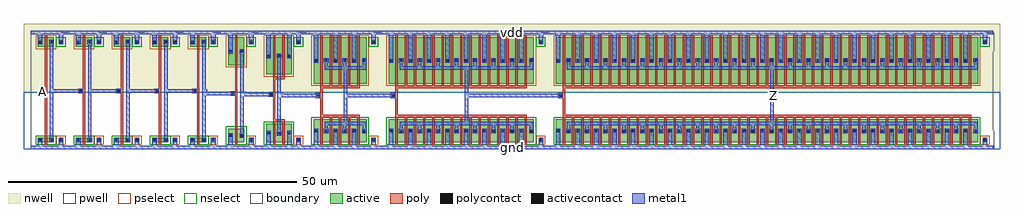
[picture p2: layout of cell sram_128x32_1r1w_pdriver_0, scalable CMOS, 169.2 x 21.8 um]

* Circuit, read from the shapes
.subckt sram_128x32_1r1w_pdriver_0 A Z gnd vdd
M1 sram_128x32_1r1w_pinv_6_1/A A gnd gnd nfet w=0.8u l=0.4u
M2 sram_128x32_1r1w_pinv_6_2/A sram_128x32_1r1w_pinv_6_1/A gnd gnd nfet w=0.8u l=0.4u
M3 sram_128x32_1r1w_pinv_6_3/A sram_128x32_1r1w_pinv_6_2/A gnd gnd nfet w=0.8u l=0.4u
M4 sram_128x32_1r1w_pinv_6_4/A sram_128x32_1r1w_pinv_6_3/A gnd gnd nfet w=0.8u l=0.4u
M5 sram_128x32_1r1w_pinv_7_5/A sram_128x32_1r1w_pinv_6_4/A gnd gnd nfet w=0.8u l=0.4u
M6 sram_128x32_1r1w_pinv_8_6/A sram_128x32_1r1w_pinv_7_5/A gnd gnd nfet w=2.4u l=0.4u
M7 sram_128x32_1r1w_pinv_9_7/A sram_128x32_1r1w_pinv_8_6/A gnd gnd nfet w=3.2u l=0.4u m=2
M8 sram_128x32_1r1w_pinv_10_8/A sram_128x32_1r1w_pinv_9_7/A gnd gnd nfet w=4u l=0.4u m=5
M9 sram_128x32_1r1w_pinv_11_9/A sram_128x32_1r1w_pinv_10_8/A gnd gnd nfet w=4u l=0.4u m=15
M10 Z sram_128x32_1r1w_pinv_11_9/A gnd gnd nfet w=4u l=0.4u m=45
M11 sram_128x32_1r1w_pinv_6_1/A A vdd vdd pfet w=1.6u l=0.4u
M12 sram_128x32_1r1w_pinv_6_2/A sram_128x32_1r1w_pinv_6_1/A vdd vdd pfet w=1.6u l=0.4u
M13 sram_128x32_1r1w_pinv_6_3/A sram_128x32_1r1w_pinv_6_2/A vdd vdd pfet w=1.6u l=0.4u
M14 sram_128x32_1r1w_pinv_6_4/A sram_128x32_1r1w_pinv_6_3/A vdd vdd pfet w=1.6u l=0.4u
M15 sram_128x32_1r1w_pinv_7_5/A sram_128x32_1r1w_pinv_6_4/A vdd vdd pfet w=1.6u l=0.4u
M16 sram_128x32_1r1w_pinv_8_6/A sram_128x32_1r1w_pinv_7_5/A vdd vdd pfet w=4.8u l=0.4u
M17 sram_128x32_1r1w_pinv_9_7/A sram_128x32_1r1w_pinv_8_6/A vdd vdd pfet w=6.4u l=0.4u m=2
M18 sram_128x32_1r1w_pinv_10_8/A sram_128x32_1r1w_pinv_9_7/A vdd vdd pfet w=8u l=0.4u m=5
M19 sram_128x32_1r1w_pinv_11_9/A sram_128x32_1r1w_pinv_10_8/A vdd vdd pfet w=8u l=0.4u m=15
M20 Z sram_128x32_1r1w_pinv_11_9/A vdd vdd pfet w=8u l=0.4u m=45
.ends

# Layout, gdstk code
import gdstk
lib = gdstk.Library(unit=1e-6, precision=1e-09)
def R(c, l, rs):  # rectangles x0, y0, x1, y1
    for r in rs: c.add(gdstk.rectangle(r[:2], r[2:], *l))
def A(c, l, x, y, w, h, nx, ny, dx, dy):  # array of equal rectangles
    R(c, l, [(x+i*dx, y+j*dy, x+i*dx+w, y+j*dy+h) for i in range(nx) for j in range(ny)])
pwell = (41, 0)
nwell = (42, 0)
active = (43, 0)
pselect = (44, 0)
nselect = (45, 0)
poly = (46, 0)
polycontact = (47, 0)
activecontact = (48, 0)
metal1 = (49, 0)
boundary = (63, 0)

sram_128x32_1r1w_contact = lib.new_cell('sram_128x32_1r1w_contact_11')
R(sram_128x32_1r1w_contact, nwell, [(-1.2,-1.2,2,2)])
R(sram_128x32_1r1w_contact, active, [(0,0,0.8,0.8)])
R(sram_128x32_1r1w_contact, pselect, [(-0.4,-0.4,1.2,1.2)])
R(sram_128x32_1r1w_contact, activecontact, [(0.2,0.2,0.6,0.6)])
R(sram_128x32_1r1w_contact, metal1, [(0,0,0.8,0.8)])
R(sram_128x32_1r1w_contact, boundary, [(-1.2,-1.2,2,2)])

sram_128x32_1r1w_pmos_m1 = lib.new_cell('sram_128x32_1r1w_pmos_m1_w1_600_sm1_dm1_da_p')
R(sram_128x32_1r1w_pmos_m1, nwell, [(-1.2,-1.2,4,2.8)])
R(sram_128x32_1r1w_pmos_m1, active, [(0,0,2.8,1.6)])
R(sram_128x32_1r1w_pmos_m1, pselect, [(-0.4,-0.4,3.2,2)])
R(sram_128x32_1r1w_pmos_m1, poly, [(1.2,-0.4,1.6,2), (1.2,-0.4,1.6,2)])
R(sram_128x32_1r1w_pmos_m1, metal1, [(0,0.4,0.8,1.2), (2,0.4,2.8,1.2)])
R(sram_128x32_1r1w_pmos_m1, boundary, [(-1.2,-1.2,4,2.8)])
sram_128x32_1r1w_pmos_m1.add(gdstk.Reference(sram_128x32_1r1w_contact, (0,0.4)))
sram_128x32_1r1w_pmos_m1.add(gdstk.Reference(sram_128x32_1r1w_contact, (2,0.4)))
sram_128x32_1r1w_pmos_m1.add(gdstk.Label('G', (1.4,0.8), layer=46, texttype=0))
sram_128x32_1r1w_pmos_m1.add(gdstk.Label('S', (0.4,0.8), layer=49, texttype=0))
sram_128x32_1r1w_pmos_m1.add(gdstk.Label('D', (2.4,0.8), layer=49, texttype=0))

c_sram_128x32_1r1w_contact = lib.new_cell('sram_128x32_1r1w_contact_10')
R(c_sram_128x32_1r1w_contact, pwell, [(-1.2,-1.2,2,2)])
R(c_sram_128x32_1r1w_contact, active, [(0,0,0.8,0.8)])
R(c_sram_128x32_1r1w_contact, nselect, [(-0.4,-0.4,1.2,1.2)])
R(c_sram_128x32_1r1w_contact, activecontact, [(0.2,0.2,0.6,0.6)])
R(c_sram_128x32_1r1w_contact, metal1, [(0,0,0.8,0.8)])
R(c_sram_128x32_1r1w_contact, boundary, [(-1.2,-1.2,2,2)])

sram_128x32_1r1w_nmos_m1 = lib.new_cell('sram_128x32_1r1w_nmos_m1_w0_800_sm1_dm1_da_p')
R(sram_128x32_1r1w_nmos_m1, pwell, [(-1.2,-1.2,4,2)])
R(sram_128x32_1r1w_nmos_m1, active, [(0,0,2.8,0.8)])
R(sram_128x32_1r1w_nmos_m1, nselect, [(-0.4,-0.4,3.2,1.2)])
R(sram_128x32_1r1w_nmos_m1, poly, [(1.2,-0.4,1.6,1.2), (1.2,-0.4,1.6,1.2)])
R(sram_128x32_1r1w_nmos_m1, metal1, [(0,0,0.8,0.8), (2,0,2.8,0.8)])
R(sram_128x32_1r1w_nmos_m1, boundary, [(-1.2,-1.2,4,2)])
sram_128x32_1r1w_nmos_m1.add(gdstk.Reference(c_sram_128x32_1r1w_contact, (0,0)))
sram_128x32_1r1w_nmos_m1.add(gdstk.Reference(c_sram_128x32_1r1w_contact, (2,0)))
sram_128x32_1r1w_nmos_m1.add(gdstk.Label('G', (1.4,0.4), layer=46, texttype=0))
sram_128x32_1r1w_nmos_m1.add(gdstk.Label('S', (0.4,0.4), layer=49, texttype=0))
sram_128x32_1r1w_nmos_m1.add(gdstk.Label('D', (2.4,0.4), layer=49, texttype=0))

c_sram_128x32_1r1w_contact_ = lib.new_cell('sram_128x32_1r1w_contact_12')
R(c_sram_128x32_1r1w_contact_, nwell, [(-1.2,-1.2,2,2)])
R(c_sram_128x32_1r1w_contact_, active, [(0,0,0.8,0.8)])
R(c_sram_128x32_1r1w_contact_, nselect, [(-0.4,-0.4,1.2,1.2)])
R(c_sram_128x32_1r1w_contact_, activecontact, [(0.2,0.2,0.6,0.6)])
R(c_sram_128x32_1r1w_contact_, metal1, [(0,0,0.8,0.8)])
R(c_sram_128x32_1r1w_contact_, boundary, [(-1.2,-1.2,2,2)])

c_sram_128x32_1r1w_contact__ = lib.new_cell('sram_128x32_1r1w_contact_13')
R(c_sram_128x32_1r1w_contact__, pwell, [(-1.2,-1.2,2,2)])
R(c_sram_128x32_1r1w_contact__, active, [(0,0,0.8,0.8)])
R(c_sram_128x32_1r1w_contact__, pselect, [(-0.4,-0.4,1.2,1.2)])
R(c_sram_128x32_1r1w_contact__, activecontact, [(0.2,0.2,0.6,0.6)])
R(c_sram_128x32_1r1w_contact__, metal1, [(0,0,0.8,0.8)])
R(c_sram_128x32_1r1w_contact__, boundary, [(-1.2,-1.2,2,2)])

c_sram_128x32_1r1w_contact___ = lib.new_cell('sram_128x32_1r1w_contact_14')
R(c_sram_128x32_1r1w_contact___, poly, [(0,0,0.8,0.8)])
R(c_sram_128x32_1r1w_contact___, polycontact, [(0.2,0.2,0.6,0.6)])
R(c_sram_128x32_1r1w_contact___, metal1, [(0,0,0.8,0.8)])
R(c_sram_128x32_1r1w_contact___, boundary, [(0,0,0.8,0.8)])

sram_128x32_1r1w_pinv_6 = lib.new_cell('sram_128x32_1r1w_pinv_6')
R(sram_128x32_1r1w_pinv_6, pwell, [(-1.2,-0.3,7.8,9.6)])
R(sram_128x32_1r1w_pinv_6, nwell, [(-1.2,9.6,7.8,21.5)])
R(sram_128x32_1r1w_pinv_6, poly, [(2.4,2.1,2.8,17.1), (2,9.4,2.4,10.2)])
R(sram_128x32_1r1w_pinv_6, metal1, [(0,-0.3,6.6,0.3), (1.2,-0.3,2,0.9), (4.8,0,5.6,1.3), (3.3,0.9,3.9,18.7), (1.6,9.4,2.4,10.2), (3.6,9.5,4.2,10.1), (1.2,17.9,2,20.3), (4.8,18.3,5.6,20), (0,19.7,6.6,20.3)])
R(sram_128x32_1r1w_pinv_6, boundary, [(0,0,6.6,20), (0,0,6.6,20)])
sram_128x32_1r1w_pinv_6.add(gdstk.Reference(sram_128x32_1r1w_pmos_m1, (1.2,17.5)))
sram_128x32_1r1w_pinv_6.add(gdstk.Reference(sram_128x32_1r1w_nmos_m1, (1.2,0.9)))
sram_128x32_1r1w_pinv_6.add(gdstk.Reference(c_sram_128x32_1r1w_contact_, (4.8,17.9)))
sram_128x32_1r1w_pinv_6.add(gdstk.Reference(c_sram_128x32_1r1w_contact__, (4.8,0.9)))
sram_128x32_1r1w_pinv_6.add(gdstk.Reference(c_sram_128x32_1r1w_contact___, (1.6,9.4)))
sram_128x32_1r1w_pinv_6.add(gdstk.Label('A', (2,9.8), layer=49, texttype=0))
sram_128x32_1r1w_pinv_6.add(gdstk.Label('Z', (3.9,9.8), layer=49, texttype=0))
sram_128x32_1r1w_pinv_6.add(gdstk.Label('gnd', (3.3,0), layer=49, texttype=0))
sram_128x32_1r1w_pinv_6.add(gdstk.Label('vdd', (3.3,20), layer=49, texttype=0))

c_sram_128x32_1r1w_pmos_m1 = lib.new_cell('sram_128x32_1r1w_pmos_m1_w4_800_sm1_dm1_da_p')
R(c_sram_128x32_1r1w_pmos_m1, nwell, [(-1.2,-1.2,4,6)])
R(c_sram_128x32_1r1w_pmos_m1, active, [(0,0,2.8,4.8)])
R(c_sram_128x32_1r1w_pmos_m1, pselect, [(-0.4,-0.4,3.2,5.2)])
R(c_sram_128x32_1r1w_pmos_m1, poly, [(1.2,-0.4,1.6,5.2), (1.2,-0.4,1.6,5.2)])
R(c_sram_128x32_1r1w_pmos_m1, metal1, [(0,2,0.8,2.8), (2,2,2.8,2.8)])
R(c_sram_128x32_1r1w_pmos_m1, boundary, [(-1.2,-1.2,4,6)])
c_sram_128x32_1r1w_pmos_m1.add(gdstk.Reference(sram_128x32_1r1w_contact, (0,2)))
c_sram_128x32_1r1w_pmos_m1.add(gdstk.Reference(sram_128x32_1r1w_contact, (2,2)))
c_sram_128x32_1r1w_pmos_m1.add(gdstk.Label('G', (1.4,2.4), layer=46, texttype=0))
c_sram_128x32_1r1w_pmos_m1.add(gdstk.Label('S', (0.4,2.4), layer=49, texttype=0))
c_sram_128x32_1r1w_pmos_m1.add(gdstk.Label('D', (2.4,2.4), layer=49, texttype=0))

c_sram_128x32_1r1w_nmos_m1 = lib.new_cell('sram_128x32_1r1w_nmos_m1_w2_400_sm1_dm1_da_p')
R(c_sram_128x32_1r1w_nmos_m1, pwell, [(-1.2,-1.2,4,3.6)])
R(c_sram_128x32_1r1w_nmos_m1, active, [(0,0,2.8,2.4)])
R(c_sram_128x32_1r1w_nmos_m1, nselect, [(-0.4,-0.4,3.2,2.8)])
R(c_sram_128x32_1r1w_nmos_m1, poly, [(1.2,-0.4,1.6,2.8), (1.2,-0.4,1.6,2.8)])
R(c_sram_128x32_1r1w_nmos_m1, metal1, [(0,0.8,0.8,1.6), (2,0.8,2.8,1.6)])
R(c_sram_128x32_1r1w_nmos_m1, boundary, [(-1.2,-1.2,4,3.6)])
c_sram_128x32_1r1w_nmos_m1.add(gdstk.Reference(c_sram_128x32_1r1w_contact, (0,0.8)))
c_sram_128x32_1r1w_nmos_m1.add(gdstk.Reference(c_sram_128x32_1r1w_contact, (2,0.8)))
c_sram_128x32_1r1w_nmos_m1.add(gdstk.Label('G', (1.4,1.2), layer=46, texttype=0))
c_sram_128x32_1r1w_nmos_m1.add(gdstk.Label('S', (0.4,1.2), layer=49, texttype=0))
c_sram_128x32_1r1w_nmos_m1.add(gdstk.Label('D', (2.4,1.2), layer=49, texttype=0))

sram_128x32_1r1w_pinv_7 = lib.new_cell('sram_128x32_1r1w_pinv_7')
R(sram_128x32_1r1w_pinv_7, pwell, [(-1.2,-0.3,7.8,9.6)])
R(sram_128x32_1r1w_pinv_7, nwell, [(-1.2,9.6,7.8,21.5)])
R(sram_128x32_1r1w_pinv_7, poly, [(2.4,3.7,2.8,13.9), (2,9,2.4,9.8)])
R(sram_128x32_1r1w_pinv_7, metal1, [(0,-0.3,6.6,0.3), (1.2,-0.3,2,1.7), (4.8,0,5.6,1.3), (3.3,1.7,3.9,17.1), (1.6,9,2.4,9.8), (3.6,9.1,4.2,9.7), (1.2,16.3,2,20.3), (4.8,18.3,5.6,20), (0,19.7,6.6,20.3)])
R(sram_128x32_1r1w_pinv_7, boundary, [(0,0,6.6,20), (0,0,6.6,20)])
sram_128x32_1r1w_pinv_7.add(gdstk.Reference(c_sram_128x32_1r1w_pmos_m1, (1.2,14.3)))
sram_128x32_1r1w_pinv_7.add(gdstk.Reference(c_sram_128x32_1r1w_nmos_m1, (1.2,0.9)))
sram_128x32_1r1w_pinv_7.add(gdstk.Reference(c_sram_128x32_1r1w_contact_, (4.8,17.9)))
sram_128x32_1r1w_pinv_7.add(gdstk.Reference(c_sram_128x32_1r1w_contact__, (4.8,0.9)))
sram_128x32_1r1w_pinv_7.add(gdstk.Reference(c_sram_128x32_1r1w_contact___, (1.6,9)))
sram_128x32_1r1w_pinv_7.add(gdstk.Label('A', (2,9.4), layer=49, texttype=0))
sram_128x32_1r1w_pinv_7.add(gdstk.Label('Z', (3.9,9.4), layer=49, texttype=0))
sram_128x32_1r1w_pinv_7.add(gdstk.Label('gnd', (3.3,0), layer=49, texttype=0))
sram_128x32_1r1w_pinv_7.add(gdstk.Label('vdd', (3.3,20), layer=49, texttype=0))

sram_128x32_1r1w_pmos_m2 = lib.new_cell('sram_128x32_1r1w_pmos_m2_w6_400_sm1_dm1_da_p')
R(sram_128x32_1r1w_pmos_m2, nwell, [(-1.2,-1.2,5.6,7.6)])
R(sram_128x32_1r1w_pmos_m2, active, [(0,0,4.4,6.4)])
R(sram_128x32_1r1w_pmos_m2, pselect, [(-0.4,-0.4,4.8,6.8)])
R(sram_128x32_1r1w_pmos_m2, poly, [(1.2,-0.8,3.2,-0.4), (1.2,-0.4,1.6,6.8), (2.8,-0.4,3.2,6.8)])
A(sram_128x32_1r1w_pmos_m2, metal1, 0, 2.8, 0.8, 0.8, 3, 1, 1.8, 0)
R(sram_128x32_1r1w_pmos_m2, boundary, [(-1.2,-1.2,5.6,7.6)])
sram_128x32_1r1w_pmos_m2.add(gdstk.Reference(sram_128x32_1r1w_contact, (0,2.8)))
sram_128x32_1r1w_pmos_m2.add(gdstk.Reference(sram_128x32_1r1w_contact, (1.8,2.8)))
sram_128x32_1r1w_pmos_m2.add(gdstk.Reference(sram_128x32_1r1w_contact, (3.6,2.8)))
sram_128x32_1r1w_pmos_m2.add(gdstk.Label('G', (2.2,-0.6), layer=46, texttype=0))
sram_128x32_1r1w_pmos_m2.add(gdstk.Label('S', (4,3.2), layer=49, texttype=0))
sram_128x32_1r1w_pmos_m2.add(gdstk.Label('S', (0.4,3.2), layer=49, texttype=0))
sram_128x32_1r1w_pmos_m2.add(gdstk.Label('D', (2.2,3.2), layer=49, texttype=0))

sram_128x32_1r1w_nmos_m2 = lib.new_cell('sram_128x32_1r1w_nmos_m2_w3_200_sm1_dm1_da_p')
R(sram_128x32_1r1w_nmos_m2, pwell, [(-1.2,-1.2,5.6,4.4)])
R(sram_128x32_1r1w_nmos_m2, active, [(0,0,4.4,3.2)])
R(sram_128x32_1r1w_nmos_m2, nselect, [(-0.4,-0.4,4.8,3.6)])
R(sram_128x32_1r1w_nmos_m2, poly, [(1.2,-0.4,1.6,3.6), (2.8,-0.4,3.2,3.6), (1.2,3.6,3.2,4)])
A(sram_128x32_1r1w_nmos_m2, metal1, 0, 1.2, 0.8, 0.8, 3, 1, 1.8, 0)
R(sram_128x32_1r1w_nmos_m2, boundary, [(-1.2,-1.2,5.6,4.4)])
sram_128x32_1r1w_nmos_m2.add(gdstk.Reference(c_sram_128x32_1r1w_contact, (0,1.2)))
sram_128x32_1r1w_nmos_m2.add(gdstk.Reference(c_sram_128x32_1r1w_contact, (1.8,1.2)))
sram_128x32_1r1w_nmos_m2.add(gdstk.Reference(c_sram_128x32_1r1w_contact, (3.6,1.2)))
sram_128x32_1r1w_nmos_m2.add(gdstk.Label('G', (2.2,3.8), layer=46, texttype=0))
sram_128x32_1r1w_nmos_m2.add(gdstk.Label('S', (0.4,1.6), layer=49, texttype=0))
sram_128x32_1r1w_nmos_m2.add(gdstk.Label('S', (4,1.6), layer=49, texttype=0))
sram_128x32_1r1w_nmos_m2.add(gdstk.Label('D', (2.2,1.6), layer=49, texttype=0))

sram_128x32_1r1w_pinv_8 = lib.new_cell('sram_128x32_1r1w_pinv_8')
R(sram_128x32_1r1w_pinv_8, pwell, [(-1.2,-0.3,9.4,9.6)])
R(sram_128x32_1r1w_pinv_8, nwell, [(-1.2,9.6,9.4,21.5)])
R(sram_128x32_1r1w_pinv_8, poly, [(2.4,4.9,2.8,11.9), (2,8.8,2.4,9.6)])
R(sram_128x32_1r1w_pinv_8, metal1, [(0,-0.3,8.2,0.3), (1.2,-0.3,2,2.1), (4.8,-0.3,5.6,2.1), (6.4,0,7.2,1.3), (3.1,2.1,3.7,16.3), (1.6,8.8,2.4,9.6), (3.4,8.9,4,9.5), (1.2,15.5,2,20.3), (4.8,15.5,5.6,20.3), (6.4,18.3,7.2,20), (0,19.7,8.2,20.3)])
R(sram_128x32_1r1w_pinv_8, boundary, [(0,0,8.2,20), (0,0,8.2,20)])
sram_128x32_1r1w_pinv_8.add(gdstk.Reference(sram_128x32_1r1w_pmos_m2, (1.2,12.7)))
sram_128x32_1r1w_pinv_8.add(gdstk.Reference(sram_128x32_1r1w_nmos_m2, (1.2,0.9)))
sram_128x32_1r1w_pinv_8.add(gdstk.Reference(c_sram_128x32_1r1w_contact_, (6.4,17.9)))
sram_128x32_1r1w_pinv_8.add(gdstk.Reference(c_sram_128x32_1r1w_contact__, (6.4,0.9)))
sram_128x32_1r1w_pinv_8.add(gdstk.Reference(c_sram_128x32_1r1w_contact___, (1.6,8.8)))
sram_128x32_1r1w_pinv_8.add(gdstk.Label('A', (2,9.2), layer=49, texttype=0))
sram_128x32_1r1w_pinv_8.add(gdstk.Label('Z', (3.7,9.2), layer=49, texttype=0))
sram_128x32_1r1w_pinv_8.add(gdstk.Label('gnd', (4.1,0), layer=49, texttype=0))
sram_128x32_1r1w_pinv_8.add(gdstk.Label('vdd', (4.1,20), layer=49, texttype=0))

sram_128x32_1r1w_pmos_m5 = lib.new_cell('sram_128x32_1r1w_pmos_m5_w8_000_sm1_dm1_da_p')
R(sram_128x32_1r1w_pmos_m5, nwell, [(-1.2,-1.2,10.4,9.2)])
R(sram_128x32_1r1w_pmos_m5, active, [(0,0,9.2,8)])
R(sram_128x32_1r1w_pmos_m5, pselect, [(-0.4,-0.4,9.6,8.4)])
A(sram_128x32_1r1w_pmos_m5, poly, 1.2, -0.4, 0.4, 8.8, 5, 1, 1.6, 0)
R(sram_128x32_1r1w_pmos_m5, poly, [(1.2,-0.8,8,-0.4)])
R(sram_128x32_1r1w_pmos_m5, metal1, [(1.9,2.4,9.1,3), (1.9,2.7,2.5,4), (5.1,2.7,5.7,4), (8.5,2.7,9.1,4), (0,3.6,0.8,4.4), (3.4,3.6,4.2,4.4), (6.6,3.6,7.4,4.4)])
R(sram_128x32_1r1w_pmos_m5, boundary, [(-1.2,-1.2,10.4,9.2)])
sram_128x32_1r1w_pmos_m5.add(gdstk.Reference(sram_128x32_1r1w_contact, (0,3.6)))
sram_128x32_1r1w_pmos_m5.add(gdstk.Reference(sram_128x32_1r1w_contact, (1.8,3.6)))
sram_128x32_1r1w_pmos_m5.add(gdstk.Reference(sram_128x32_1r1w_contact, (3.4,3.6)))
sram_128x32_1r1w_pmos_m5.add(gdstk.Reference(sram_128x32_1r1w_contact, (5,3.6)))
sram_128x32_1r1w_pmos_m5.add(gdstk.Reference(sram_128x32_1r1w_contact, (6.6,3.6)))
sram_128x32_1r1w_pmos_m5.add(gdstk.Reference(sram_128x32_1r1w_contact, (8.4,3.6)))
sram_128x32_1r1w_pmos_m5.add(gdstk.Label('G', (4.6,-0.6), layer=46, texttype=0))
sram_128x32_1r1w_pmos_m5.add(gdstk.Label('S', (7,4), layer=49, texttype=0))
sram_128x32_1r1w_pmos_m5.add(gdstk.Label('S', (3.8,4), layer=49, texttype=0))
sram_128x32_1r1w_pmos_m5.add(gdstk.Label('S', (0.4,4), layer=49, texttype=0))
sram_128x32_1r1w_pmos_m5.add(gdstk.Label('D', (5.5,2.7), layer=49, texttype=0))

sram_128x32_1r1w_nmos_m5 = lib.new_cell('sram_128x32_1r1w_nmos_m5_w4_000_sm1_dm1_da_p')
R(sram_128x32_1r1w_nmos_m5, pwell, [(-1.2,-1.2,10.4,5.2)])
R(sram_128x32_1r1w_nmos_m5, active, [(0,0,9.2,4)])
R(sram_128x32_1r1w_nmos_m5, nselect, [(-0.4,-0.4,9.6,4.4)])
A(sram_128x32_1r1w_nmos_m5, poly, 1.2, -0.4, 0.4, 4.8, 5, 1, 1.6, 0)
R(sram_128x32_1r1w_nmos_m5, poly, [(1.2,4.4,8,4.8)])
R(sram_128x32_1r1w_nmos_m5, metal1, [(0,1.6,0.8,2.4), (3.4,1.6,4.2,2.4), (6.6,1.6,7.4,2.4), (1.9,2,2.5,3.3), (5.1,2,5.7,3.3), (8.5,2,9.1,3.3), (1.9,3,9.1,3.6)])
R(sram_128x32_1r1w_nmos_m5, boundary, [(-1.2,-1.2,10.4,5.2)])
sram_128x32_1r1w_nmos_m5.add(gdstk.Reference(c_sram_128x32_1r1w_contact, (0,1.6)))
sram_128x32_1r1w_nmos_m5.add(gdstk.Reference(c_sram_128x32_1r1w_contact, (1.8,1.6)))
sram_128x32_1r1w_nmos_m5.add(gdstk.Reference(c_sram_128x32_1r1w_contact, (3.4,1.6)))
sram_128x32_1r1w_nmos_m5.add(gdstk.Reference(c_sram_128x32_1r1w_contact, (5,1.6)))
sram_128x32_1r1w_nmos_m5.add(gdstk.Reference(c_sram_128x32_1r1w_contact, (6.6,1.6)))
sram_128x32_1r1w_nmos_m5.add(gdstk.Reference(c_sram_128x32_1r1w_contact, (8.4,1.6)))
sram_128x32_1r1w_nmos_m5.add(gdstk.Label('G', (4.6,4.6), layer=46, texttype=0))
sram_128x32_1r1w_nmos_m5.add(gdstk.Label('S', (7,2), layer=49, texttype=0))
sram_128x32_1r1w_nmos_m5.add(gdstk.Label('S', (0.4,2), layer=49, texttype=0))
sram_128x32_1r1w_nmos_m5.add(gdstk.Label('S', (3.8,2), layer=49, texttype=0))
sram_128x32_1r1w_nmos_m5.add(gdstk.Label('D', (5.5,3.3), layer=49, texttype=0))

sram_128x32_1r1w_pinv_9 = lib.new_cell('sram_128x32_1r1w_pinv_9')
R(sram_128x32_1r1w_pinv_9, pwell, [(-1.2,-0.3,14.2,9.6)])
R(sram_128x32_1r1w_pinv_9, nwell, [(-1.2,9.6,14.2,21.5)])
R(sram_128x32_1r1w_pinv_9, poly, [(2.4,5.7,2.8,10.3), (2,8.6,2.4,9.4)])
R(sram_128x32_1r1w_pinv_9, metal1, [(0,-0.3,13,0.3), (1.2,-0.3,2,2.5), (4.6,-0.3,5.4,2.5), (7.8,-0.3,8.6,2.5), (11.2,0,12,1.3), (6.4,3.9,7,14.1), (1.6,8.6,2.4,9.4), (6.7,8.7,7.3,9.3), (1.2,14.7,2,20.3), (4.6,14.7,5.4,20.3), (7.8,14.7,8.6,20.3), (11.2,18.3,12,20), (0,19.7,13,20.3)])
R(sram_128x32_1r1w_pinv_9, boundary, [(0,0,13,20), (0,0,13,20)])
sram_128x32_1r1w_pinv_9.add(gdstk.Reference(sram_128x32_1r1w_pmos_m5, (1.2,11.1)))
sram_128x32_1r1w_pinv_9.add(gdstk.Reference(sram_128x32_1r1w_nmos_m5, (1.2,0.9)))
sram_128x32_1r1w_pinv_9.add(gdstk.Reference(c_sram_128x32_1r1w_contact_, (11.2,17.9)))
sram_128x32_1r1w_pinv_9.add(gdstk.Reference(c_sram_128x32_1r1w_contact__, (11.2,0.9)))
sram_128x32_1r1w_pinv_9.add(gdstk.Reference(c_sram_128x32_1r1w_contact___, (1.6,8.6)))
sram_128x32_1r1w_pinv_9.add(gdstk.Label('A', (2,9), layer=49, texttype=0))
sram_128x32_1r1w_pinv_9.add(gdstk.Label('Z', (7,9), layer=49, texttype=0))
sram_128x32_1r1w_pinv_9.add(gdstk.Label('gnd', (6.5,0), layer=49, texttype=0))
sram_128x32_1r1w_pinv_9.add(gdstk.Label('vdd', (6.5,20), layer=49, texttype=0))

c_sram_128x32_1r1w_pmos_m1_ = lib.new_cell('sram_128x32_1r1w_pmos_m15_w8_000_sm1_dm1_da_p')
R(c_sram_128x32_1r1w_pmos_m1_, nwell, [(-1.2,-1.2,26.4,9.2)])
R(c_sram_128x32_1r1w_pmos_m1_, active, [(0,0,25.2,8)])
R(c_sram_128x32_1r1w_pmos_m1_, pselect, [(-0.4,-0.4,25.6,8.4)])
A(c_sram_128x32_1r1w_pmos_m1_, poly, 1.2, -0.4, 0.4, 8.8, 15, 1, 1.6, 0)
R(c_sram_128x32_1r1w_pmos_m1_, poly, [(1.2,-0.8,24,-0.4)])
A(c_sram_128x32_1r1w_pmos_m1_, metal1, 1.9, 2.7, 0.6, 1.3, 7, 1, 3.2, 0)
A(c_sram_128x32_1r1w_pmos_m1_, metal1, 3.4, 3.6, 0.8, 0.8, 7, 1, 3.2, 0)
R(c_sram_128x32_1r1w_pmos_m1_, metal1, [(1.9,2.4,25.1,3), (24.5,2.7,25.1,4), (0,3.6,0.8,4.4)])
R(c_sram_128x32_1r1w_pmos_m1_, boundary, [(-1.2,-1.2,26.4,9.2)])
c_sram_128x32_1r1w_pmos_m1_.add(gdstk.Reference(sram_128x32_1r1w_contact, (0,3.6)))
c_sram_128x32_1r1w_pmos_m1_.add(gdstk.Reference(sram_128x32_1r1w_contact, (1.8,3.6)))
c_sram_128x32_1r1w_pmos_m1_.add(gdstk.Reference(sram_128x32_1r1w_contact, (3.4,3.6)))
c_sram_128x32_1r1w_pmos_m1_.add(gdstk.Reference(sram_128x32_1r1w_contact, (5,3.6)))
c_sram_128x32_1r1w_pmos_m1_.add(gdstk.Reference(sram_128x32_1r1w_contact, (6.6,3.6)))
c_sram_128x32_1r1w_pmos_m1_.add(gdstk.Reference(sram_128x32_1r1w_contact, (8.2,3.6)))
c_sram_128x32_1r1w_pmos_m1_.add(gdstk.Reference(sram_128x32_1r1w_contact, (9.8,3.6)))
c_sram_128x32_1r1w_pmos_m1_.add(gdstk.Reference(sram_128x32_1r1w_contact, (11.4,3.6)))
c_sram_128x32_1r1w_pmos_m1_.add(gdstk.Reference(sram_128x32_1r1w_contact, (13,3.6)))
c_sram_128x32_1r1w_pmos_m1_.add(gdstk.Reference(sram_128x32_1r1w_contact, (14.6,3.6)))
c_sram_128x32_1r1w_pmos_m1_.add(gdstk.Reference(sram_128x32_1r1w_contact, (16.2,3.6)))
c_sram_128x32_1r1w_pmos_m1_.add(gdstk.Reference(sram_128x32_1r1w_contact, (17.8,3.6)))
c_sram_128x32_1r1w_pmos_m1_.add(gdstk.Reference(sram_128x32_1r1w_contact, (19.4,3.6)))
c_sram_128x32_1r1w_pmos_m1_.add(gdstk.Reference(sram_128x32_1r1w_contact, (21,3.6)))
c_sram_128x32_1r1w_pmos_m1_.add(gdstk.Reference(sram_128x32_1r1w_contact, (22.6,3.6)))
c_sram_128x32_1r1w_pmos_m1_.add(gdstk.Reference(sram_128x32_1r1w_contact, (24.4,3.6)))
c_sram_128x32_1r1w_pmos_m1_.add(gdstk.Label('G', (12.6,-0.6), layer=46, texttype=0))
c_sram_128x32_1r1w_pmos_m1_.add(gdstk.Label('S', (23,4), layer=49, texttype=0))
c_sram_128x32_1r1w_pmos_m1_.add(gdstk.Label('S', (0.4,4), layer=49, texttype=0))
c_sram_128x32_1r1w_pmos_m1_.add(gdstk.Label('S', (16.6,4), layer=49, texttype=0))
c_sram_128x32_1r1w_pmos_m1_.add(gdstk.Label('S', (10.2,4), layer=49, texttype=0))
c_sram_128x32_1r1w_pmos_m1_.add(gdstk.Label('S', (3.8,4), layer=49, texttype=0))
c_sram_128x32_1r1w_pmos_m1_.add(gdstk.Label('S', (13.4,4), layer=49, texttype=0))
c_sram_128x32_1r1w_pmos_m1_.add(gdstk.Label('S', (7,4), layer=49, texttype=0))
c_sram_128x32_1r1w_pmos_m1_.add(gdstk.Label('S', (19.8,4), layer=49, texttype=0))
c_sram_128x32_1r1w_pmos_m1_.add(gdstk.Label('D', (13.5,2.7), layer=49, texttype=0))

c_sram_128x32_1r1w_nmos_m1_ = lib.new_cell('sram_128x32_1r1w_nmos_m15_w4_000_sm1_dm1_da_p')
R(c_sram_128x32_1r1w_nmos_m1_, pwell, [(-1.2,-1.2,26.4,5.2)])
R(c_sram_128x32_1r1w_nmos_m1_, active, [(0,0,25.2,4)])
R(c_sram_128x32_1r1w_nmos_m1_, nselect, [(-0.4,-0.4,25.6,4.4)])
A(c_sram_128x32_1r1w_nmos_m1_, poly, 1.2, -0.4, 0.4, 4.8, 15, 1, 1.6, 0)
R(c_sram_128x32_1r1w_nmos_m1_, poly, [(1.2,4.4,24,4.8)])
A(c_sram_128x32_1r1w_nmos_m1_, metal1, 3.4, 1.6, 0.8, 0.8, 7, 1, 3.2, 0)
A(c_sram_128x32_1r1w_nmos_m1_, metal1, 1.9, 2, 0.6, 1.3, 7, 1, 3.2, 0)
R(c_sram_128x32_1r1w_nmos_m1_, metal1, [(0,1.6,0.8,2.4), (24.5,2,25.1,3.3), (1.9,3,25.1,3.6)])
R(c_sram_128x32_1r1w_nmos_m1_, boundary, [(-1.2,-1.2,26.4,5.2)])
c_sram_128x32_1r1w_nmos_m1_.add(gdstk.Reference(c_sram_128x32_1r1w_contact, (0,1.6)))
c_sram_128x32_1r1w_nmos_m1_.add(gdstk.Reference(c_sram_128x32_1r1w_contact, (1.8,1.6)))
c_sram_128x32_1r1w_nmos_m1_.add(gdstk.Reference(c_sram_128x32_1r1w_contact, (3.4,1.6)))
c_sram_128x32_1r1w_nmos_m1_.add(gdstk.Reference(c_sram_128x32_1r1w_contact, (5,1.6)))
c_sram_128x32_1r1w_nmos_m1_.add(gdstk.Reference(c_sram_128x32_1r1w_contact, (6.6,1.6)))
c_sram_128x32_1r1w_nmos_m1_.add(gdstk.Reference(c_sram_128x32_1r1w_contact, (8.2,1.6)))
c_sram_128x32_1r1w_nmos_m1_.add(gdstk.Reference(c_sram_128x32_1r1w_contact, (9.8,1.6)))
c_sram_128x32_1r1w_nmos_m1_.add(gdstk.Reference(c_sram_128x32_1r1w_contact, (11.4,1.6)))
c_sram_128x32_1r1w_nmos_m1_.add(gdstk.Reference(c_sram_128x32_1r1w_contact, (13,1.6)))
c_sram_128x32_1r1w_nmos_m1_.add(gdstk.Reference(c_sram_128x32_1r1w_contact, (14.6,1.6)))
c_sram_128x32_1r1w_nmos_m1_.add(gdstk.Reference(c_sram_128x32_1r1w_contact, (16.2,1.6)))
c_sram_128x32_1r1w_nmos_m1_.add(gdstk.Reference(c_sram_128x32_1r1w_contact, (17.8,1.6)))
c_sram_128x32_1r1w_nmos_m1_.add(gdstk.Reference(c_sram_128x32_1r1w_contact, (19.4,1.6)))
c_sram_128x32_1r1w_nmos_m1_.add(gdstk.Reference(c_sram_128x32_1r1w_contact, (21,1.6)))
c_sram_128x32_1r1w_nmos_m1_.add(gdstk.Reference(c_sram_128x32_1r1w_contact, (22.6,1.6)))
c_sram_128x32_1r1w_nmos_m1_.add(gdstk.Reference(c_sram_128x32_1r1w_contact, (24.4,1.6)))
c_sram_128x32_1r1w_nmos_m1_.add(gdstk.Label('G', (12.6,4.6), layer=46, texttype=0))
c_sram_128x32_1r1w_nmos_m1_.add(gdstk.Label('S', (7,2), layer=49, texttype=0))
c_sram_128x32_1r1w_nmos_m1_.add(gdstk.Label('S', (13.4,2), layer=49, texttype=0))
c_sram_128x32_1r1w_nmos_m1_.add(gdstk.Label('S', (19.8,2), layer=49, texttype=0))
c_sram_128x32_1r1w_nmos_m1_.add(gdstk.Label('S', (23,2), layer=49, texttype=0))
c_sram_128x32_1r1w_nmos_m1_.add(gdstk.Label('S', (10.2,2), layer=49, texttype=0))
c_sram_128x32_1r1w_nmos_m1_.add(gdstk.Label('S', (3.8,2), layer=49, texttype=0))
c_sram_128x32_1r1w_nmos_m1_.add(gdstk.Label('S', (16.6,2), layer=49, texttype=0))
c_sram_128x32_1r1w_nmos_m1_.add(gdstk.Label('S', (0.4,2), layer=49, texttype=0))
c_sram_128x32_1r1w_nmos_m1_.add(gdstk.Label('D', (13.5,3.3), layer=49, texttype=0))

sram_128x32_1r1w_pinv_10 = lib.new_cell('sram_128x32_1r1w_pinv_10')
R(sram_128x32_1r1w_pinv_10, pwell, [(-1.2,-0.3,30.2,9.6)])
R(sram_128x32_1r1w_pinv_10, nwell, [(-1.2,9.6,30.2,21.5)])
R(sram_128x32_1r1w_pinv_10, poly, [(2.4,5.7,2.8,10.3), (2,8.6,2.4,9.4)])
A(sram_128x32_1r1w_pinv_10, metal1, 4.6, -0.3, 0.8, 2.8, 7, 1, 3.2, 0)
A(sram_128x32_1r1w_pinv_10, metal1, 4.6, 14.7, 0.8, 5.6, 7, 1, 3.2, 0)
R(sram_128x32_1r1w_pinv_10, metal1, [(0,-0.3,29,0.3), (1.2,-0.3,2,2.5), (27.2,0,28,1.3), (14.4,3.9,15,14.1), (1.6,8.6,2.4,9.4), (14.7,8.7,15.3,9.3), (1.2,14.7,2,20.3), (27.2,18.3,28,20), (0,19.7,29,20.3)])
R(sram_128x32_1r1w_pinv_10, boundary, [(0,0,29,20), (0,0,29,20)])
sram_128x32_1r1w_pinv_10.add(gdstk.Reference(c_sram_128x32_1r1w_pmos_m1_, (1.2,11.1)))
sram_128x32_1r1w_pinv_10.add(gdstk.Reference(c_sram_128x32_1r1w_nmos_m1_, (1.2,0.9)))
sram_128x32_1r1w_pinv_10.add(gdstk.Reference(c_sram_128x32_1r1w_contact_, (27.2,17.9)))
sram_128x32_1r1w_pinv_10.add(gdstk.Reference(c_sram_128x32_1r1w_contact__, (27.2,0.9)))
sram_128x32_1r1w_pinv_10.add(gdstk.Reference(c_sram_128x32_1r1w_contact___, (1.6,8.6)))
sram_128x32_1r1w_pinv_10.add(gdstk.Label('A', (2,9), layer=49, texttype=0))
sram_128x32_1r1w_pinv_10.add(gdstk.Label('Z', (15,9), layer=49, texttype=0))
sram_128x32_1r1w_pinv_10.add(gdstk.Label('gnd', (14.5,0), layer=49, texttype=0))
sram_128x32_1r1w_pinv_10.add(gdstk.Label('vdd', (14.5,20), layer=49, texttype=0))

sram_128x32_1r1w_pmos_m4 = lib.new_cell('sram_128x32_1r1w_pmos_m45_w8_000_sm1_dm1_da_p')
R(sram_128x32_1r1w_pmos_m4, nwell, [(-1.2,-1.2,74.4,9.2)])
R(sram_128x32_1r1w_pmos_m4, active, [(0,0,73.2,8)])
R(sram_128x32_1r1w_pmos_m4, pselect, [(-0.4,-0.4,73.6,8.4)])
A(sram_128x32_1r1w_pmos_m4, poly, 1.2, -0.4, 0.4, 8.8, 45, 1, 1.6, 0)
R(sram_128x32_1r1w_pmos_m4, poly, [(1.2,-0.8,72,-0.4)])
A(sram_128x32_1r1w_pmos_m4, metal1, 1.9, 2.7, 0.6, 1.3, 22, 1, 3.2, 0)
A(sram_128x32_1r1w_pmos_m4, metal1, 3.4, 3.6, 0.8, 0.8, 22, 1, 3.2, 0)
R(sram_128x32_1r1w_pmos_m4, metal1, [(1.9,2.4,73.1,3), (72.5,2.7,73.1,4), (0,3.6,0.8,4.4)])
R(sram_128x32_1r1w_pmos_m4, boundary, [(-1.2,-1.2,74.4,9.2)])
sram_128x32_1r1w_pmos_m4.add(gdstk.Reference(sram_128x32_1r1w_contact, (0,3.6)))
sram_128x32_1r1w_pmos_m4.add(gdstk.Reference(sram_128x32_1r1w_contact, (1.8,3.6)))
sram_128x32_1r1w_pmos_m4.add(gdstk.Reference(sram_128x32_1r1w_contact, (3.4,3.6)))
sram_128x32_1r1w_pmos_m4.add(gdstk.Reference(sram_128x32_1r1w_contact, (5,3.6)))
sram_128x32_1r1w_pmos_m4.add(gdstk.Reference(sram_128x32_1r1w_contact, (6.6,3.6)))
sram_128x32_1r1w_pmos_m4.add(gdstk.Reference(sram_128x32_1r1w_contact, (8.2,3.6)))
sram_128x32_1r1w_pmos_m4.add(gdstk.Reference(sram_128x32_1r1w_contact, (9.8,3.6)))
sram_128x32_1r1w_pmos_m4.add(gdstk.Reference(sram_128x32_1r1w_contact, (11.4,3.6)))
sram_128x32_1r1w_pmos_m4.add(gdstk.Reference(sram_128x32_1r1w_contact, (13,3.6)))
sram_128x32_1r1w_pmos_m4.add(gdstk.Reference(sram_128x32_1r1w_contact, (14.6,3.6)))
sram_128x32_1r1w_pmos_m4.add(gdstk.Reference(sram_128x32_1r1w_contact, (16.2,3.6)))
sram_128x32_1r1w_pmos_m4.add(gdstk.Reference(sram_128x32_1r1w_contact, (17.8,3.6)))
sram_128x32_1r1w_pmos_m4.add(gdstk.Reference(sram_128x32_1r1w_contact, (19.4,3.6)))
sram_128x32_1r1w_pmos_m4.add(gdstk.Reference(sram_128x32_1r1w_contact, (21,3.6)))
sram_128x32_1r1w_pmos_m4.add(gdstk.Reference(sram_128x32_1r1w_contact, (22.6,3.6)))
sram_128x32_1r1w_pmos_m4.add(gdstk.Reference(sram_128x32_1r1w_contact, (24.2,3.6)))
sram_128x32_1r1w_pmos_m4.add(gdstk.Reference(sram_128x32_1r1w_contact, (25.8,3.6)))
sram_128x32_1r1w_pmos_m4.add(gdstk.Reference(sram_128x32_1r1w_contact, (27.4,3.6)))
sram_128x32_1r1w_pmos_m4.add(gdstk.Reference(sram_128x32_1r1w_contact, (29,3.6)))
sram_128x32_1r1w_pmos_m4.add(gdstk.Reference(sram_128x32_1r1w_contact, (30.6,3.6)))
sram_128x32_1r1w_pmos_m4.add(gdstk.Reference(sram_128x32_1r1w_contact, (32.2,3.6)))
sram_128x32_1r1w_pmos_m4.add(gdstk.Reference(sram_128x32_1r1w_contact, (33.8,3.6)))
sram_128x32_1r1w_pmos_m4.add(gdstk.Reference(sram_128x32_1r1w_contact, (35.4,3.6)))
sram_128x32_1r1w_pmos_m4.add(gdstk.Reference(sram_128x32_1r1w_contact, (37,3.6)))
sram_128x32_1r1w_pmos_m4.add(gdstk.Reference(sram_128x32_1r1w_contact, (38.6,3.6)))
sram_128x32_1r1w_pmos_m4.add(gdstk.Reference(sram_128x32_1r1w_contact, (40.2,3.6)))
sram_128x32_1r1w_pmos_m4.add(gdstk.Reference(sram_128x32_1r1w_contact, (41.8,3.6)))
sram_128x32_1r1w_pmos_m4.add(gdstk.Reference(sram_128x32_1r1w_contact, (43.4,3.6)))
sram_128x32_1r1w_pmos_m4.add(gdstk.Reference(sram_128x32_1r1w_contact, (45,3.6)))
sram_128x32_1r1w_pmos_m4.add(gdstk.Reference(sram_128x32_1r1w_contact, (46.6,3.6)))
sram_128x32_1r1w_pmos_m4.add(gdstk.Reference(sram_128x32_1r1w_contact, (48.2,3.6)))
sram_128x32_1r1w_pmos_m4.add(gdstk.Reference(sram_128x32_1r1w_contact, (49.8,3.6)))
sram_128x32_1r1w_pmos_m4.add(gdstk.Reference(sram_128x32_1r1w_contact, (51.4,3.6)))
sram_128x32_1r1w_pmos_m4.add(gdstk.Reference(sram_128x32_1r1w_contact, (53,3.6)))
sram_128x32_1r1w_pmos_m4.add(gdstk.Reference(sram_128x32_1r1w_contact, (54.6,3.6)))
sram_128x32_1r1w_pmos_m4.add(gdstk.Reference(sram_128x32_1r1w_contact, (56.2,3.6)))
sram_128x32_1r1w_pmos_m4.add(gdstk.Reference(sram_128x32_1r1w_contact, (57.8,3.6)))
sram_128x32_1r1w_pmos_m4.add(gdstk.Reference(sram_128x32_1r1w_contact, (59.4,3.6)))
sram_128x32_1r1w_pmos_m4.add(gdstk.Reference(sram_128x32_1r1w_contact, (61,3.6)))
sram_128x32_1r1w_pmos_m4.add(gdstk.Reference(sram_128x32_1r1w_contact, (62.6,3.6)))
sram_128x32_1r1w_pmos_m4.add(gdstk.Reference(sram_128x32_1r1w_contact, (64.2,3.6)))
sram_128x32_1r1w_pmos_m4.add(gdstk.Reference(sram_128x32_1r1w_contact, (65.8,3.6)))
sram_128x32_1r1w_pmos_m4.add(gdstk.Reference(sram_128x32_1r1w_contact, (67.4,3.6)))
sram_128x32_1r1w_pmos_m4.add(gdstk.Reference(sram_128x32_1r1w_contact, (69,3.6)))
sram_128x32_1r1w_pmos_m4.add(gdstk.Reference(sram_128x32_1r1w_contact, (70.6,3.6)))
sram_128x32_1r1w_pmos_m4.add(gdstk.Reference(sram_128x32_1r1w_contact, (72.4,3.6)))
sram_128x32_1r1w_pmos_m4.add(gdstk.Label('G', (36.6,-0.6), layer=46, texttype=0))
sram_128x32_1r1w_pmos_m4.add(gdstk.Label('S', (0.4,4), layer=49, texttype=0))
sram_128x32_1r1w_pmos_m4.add(gdstk.Label('S', (16.6,4), layer=49, texttype=0))
sram_128x32_1r1w_pmos_m4.add(gdstk.Label('S', (26.2,4), layer=49, texttype=0))
sram_128x32_1r1w_pmos_m4.add(gdstk.Label('S', (71,4), layer=49, texttype=0))
sram_128x32_1r1w_pmos_m4.add(gdstk.Label('S', (23,4), layer=49, texttype=0))
sram_128x32_1r1w_pmos_m4.add(gdstk.Label('S', (42.2,4), layer=49, texttype=0))
sram_128x32_1r1w_pmos_m4.add(gdstk.Label('S', (19.8,4), layer=49, texttype=0))
sram_128x32_1r1w_pmos_m4.add(gdstk.Label('S', (3.8,4), layer=49, texttype=0))
sram_128x32_1r1w_pmos_m4.add(gdstk.Label('S', (35.8,4), layer=49, texttype=0))
sram_128x32_1r1w_pmos_m4.add(gdstk.Label('S', (45.4,4), layer=49, texttype=0))
sram_128x32_1r1w_pmos_m4.add(gdstk.Label('S', (7,4), layer=49, texttype=0))
sram_128x32_1r1w_pmos_m4.add(gdstk.Label('S', (64.6,4), layer=49, texttype=0))
sram_128x32_1r1w_pmos_m4.add(gdstk.Label('S', (10.2,4), layer=49, texttype=0))
sram_128x32_1r1w_pmos_m4.add(gdstk.Label('S', (13.4,4), layer=49, texttype=0))
sram_128x32_1r1w_pmos_m4.add(gdstk.Label('S', (32.6,4), layer=49, texttype=0))
sram_128x32_1r1w_pmos_m4.add(gdstk.Label('S', (48.6,4), layer=49, texttype=0))
sram_128x32_1r1w_pmos_m4.add(gdstk.Label('S', (61.4,4), layer=49, texttype=0))
sram_128x32_1r1w_pmos_m4.add(gdstk.Label('S', (58.2,4), layer=49, texttype=0))
sram_128x32_1r1w_pmos_m4.add(gdstk.Label('S', (39,4), layer=49, texttype=0))
sram_128x32_1r1w_pmos_m4.add(gdstk.Label('S', (29.4,4), layer=49, texttype=0))
sram_128x32_1r1w_pmos_m4.add(gdstk.Label('S', (55,4), layer=49, texttype=0))
sram_128x32_1r1w_pmos_m4.add(gdstk.Label('S', (51.8,4), layer=49, texttype=0))
sram_128x32_1r1w_pmos_m4.add(gdstk.Label('S', (67.8,4), layer=49, texttype=0))
sram_128x32_1r1w_pmos_m4.add(gdstk.Label('D', (37.5,2.7), layer=49, texttype=0))

sram_128x32_1r1w_nmos_m4 = lib.new_cell('sram_128x32_1r1w_nmos_m45_w4_000_sm1_dm1_da_p')
R(sram_128x32_1r1w_nmos_m4, pwell, [(-1.2,-1.2,74.4,5.2)])
R(sram_128x32_1r1w_nmos_m4, active, [(0,0,73.2,4)])
R(sram_128x32_1r1w_nmos_m4, nselect, [(-0.4,-0.4,73.6,4.4)])
A(sram_128x32_1r1w_nmos_m4, poly, 1.2, -0.4, 0.4, 4.8, 45, 1, 1.6, 0)
R(sram_128x32_1r1w_nmos_m4, poly, [(1.2,4.4,72,4.8)])
A(sram_128x32_1r1w_nmos_m4, metal1, 3.4, 1.6, 0.8, 0.8, 22, 1, 3.2, 0)
A(sram_128x32_1r1w_nmos_m4, metal1, 1.9, 2, 0.6, 1.3, 22, 1, 3.2, 0)
R(sram_128x32_1r1w_nmos_m4, metal1, [(0,1.6,0.8,2.4), (72.5,2,73.1,3.3), (1.9,3,73.1,3.6)])
R(sram_128x32_1r1w_nmos_m4, boundary, [(-1.2,-1.2,74.4,5.2)])
sram_128x32_1r1w_nmos_m4.add(gdstk.Reference(c_sram_128x32_1r1w_contact, (0,1.6)))
sram_128x32_1r1w_nmos_m4.add(gdstk.Reference(c_sram_128x32_1r1w_contact, (1.8,1.6)))
sram_128x32_1r1w_nmos_m4.add(gdstk.Reference(c_sram_128x32_1r1w_contact, (3.4,1.6)))
sram_128x32_1r1w_nmos_m4.add(gdstk.Reference(c_sram_128x32_1r1w_contact, (5,1.6)))
sram_128x32_1r1w_nmos_m4.add(gdstk.Reference(c_sram_128x32_1r1w_contact, (6.6,1.6)))
sram_128x32_1r1w_nmos_m4.add(gdstk.Reference(c_sram_128x32_1r1w_contact, (8.2,1.6)))
sram_128x32_1r1w_nmos_m4.add(gdstk.Reference(c_sram_128x32_1r1w_contact, (9.8,1.6)))
sram_128x32_1r1w_nmos_m4.add(gdstk.Reference(c_sram_128x32_1r1w_contact, (11.4,1.6)))
sram_128x32_1r1w_nmos_m4.add(gdstk.Reference(c_sram_128x32_1r1w_contact, (13,1.6)))
sram_128x32_1r1w_nmos_m4.add(gdstk.Reference(c_sram_128x32_1r1w_contact, (14.6,1.6)))
sram_128x32_1r1w_nmos_m4.add(gdstk.Reference(c_sram_128x32_1r1w_contact, (16.2,1.6)))
sram_128x32_1r1w_nmos_m4.add(gdstk.Reference(c_sram_128x32_1r1w_contact, (17.8,1.6)))
sram_128x32_1r1w_nmos_m4.add(gdstk.Reference(c_sram_128x32_1r1w_contact, (19.4,1.6)))
sram_128x32_1r1w_nmos_m4.add(gdstk.Reference(c_sram_128x32_1r1w_contact, (21,1.6)))
sram_128x32_1r1w_nmos_m4.add(gdstk.Reference(c_sram_128x32_1r1w_contact, (22.6,1.6)))
sram_128x32_1r1w_nmos_m4.add(gdstk.Reference(c_sram_128x32_1r1w_contact, (24.2,1.6)))
sram_128x32_1r1w_nmos_m4.add(gdstk.Reference(c_sram_128x32_1r1w_contact, (25.8,1.6)))
sram_128x32_1r1w_nmos_m4.add(gdstk.Reference(c_sram_128x32_1r1w_contact, (27.4,1.6)))
sram_128x32_1r1w_nmos_m4.add(gdstk.Reference(c_sram_128x32_1r1w_contact, (29,1.6)))
sram_128x32_1r1w_nmos_m4.add(gdstk.Reference(c_sram_128x32_1r1w_contact, (30.6,1.6)))
sram_128x32_1r1w_nmos_m4.add(gdstk.Reference(c_sram_128x32_1r1w_contact, (32.2,1.6)))
sram_128x32_1r1w_nmos_m4.add(gdstk.Reference(c_sram_128x32_1r1w_contact, (33.8,1.6)))
sram_128x32_1r1w_nmos_m4.add(gdstk.Reference(c_sram_128x32_1r1w_contact, (35.4,1.6)))
sram_128x32_1r1w_nmos_m4.add(gdstk.Reference(c_sram_128x32_1r1w_contact, (37,1.6)))
sram_128x32_1r1w_nmos_m4.add(gdstk.Reference(c_sram_128x32_1r1w_contact, (38.6,1.6)))
sram_128x32_1r1w_nmos_m4.add(gdstk.Reference(c_sram_128x32_1r1w_contact, (40.2,1.6)))
sram_128x32_1r1w_nmos_m4.add(gdstk.Reference(c_sram_128x32_1r1w_contact, (41.8,1.6)))
sram_128x32_1r1w_nmos_m4.add(gdstk.Reference(c_sram_128x32_1r1w_contact, (43.4,1.6)))
sram_128x32_1r1w_nmos_m4.add(gdstk.Reference(c_sram_128x32_1r1w_contact, (45,1.6)))
sram_128x32_1r1w_nmos_m4.add(gdstk.Reference(c_sram_128x32_1r1w_contact, (46.6,1.6)))
sram_128x32_1r1w_nmos_m4.add(gdstk.Reference(c_sram_128x32_1r1w_contact, (48.2,1.6)))
sram_128x32_1r1w_nmos_m4.add(gdstk.Reference(c_sram_128x32_1r1w_contact, (49.8,1.6)))
sram_128x32_1r1w_nmos_m4.add(gdstk.Reference(c_sram_128x32_1r1w_contact, (51.4,1.6)))
sram_128x32_1r1w_nmos_m4.add(gdstk.Reference(c_sram_128x32_1r1w_contact, (53,1.6)))
sram_128x32_1r1w_nmos_m4.add(gdstk.Reference(c_sram_128x32_1r1w_contact, (54.6,1.6)))
sram_128x32_1r1w_nmos_m4.add(gdstk.Reference(c_sram_128x32_1r1w_contact, (56.2,1.6)))
sram_128x32_1r1w_nmos_m4.add(gdstk.Reference(c_sram_128x32_1r1w_contact, (57.8,1.6)))
sram_128x32_1r1w_nmos_m4.add(gdstk.Reference(c_sram_128x32_1r1w_contact, (59.4,1.6)))
sram_128x32_1r1w_nmos_m4.add(gdstk.Reference(c_sram_128x32_1r1w_contact, (61,1.6)))
sram_128x32_1r1w_nmos_m4.add(gdstk.Reference(c_sram_128x32_1r1w_contact, (62.6,1.6)))
sram_128x32_1r1w_nmos_m4.add(gdstk.Reference(c_sram_128x32_1r1w_contact, (64.2,1.6)))
sram_128x32_1r1w_nmos_m4.add(gdstk.Reference(c_sram_128x32_1r1w_contact, (65.8,1.6)))
sram_128x32_1r1w_nmos_m4.add(gdstk.Reference(c_sram_128x32_1r1w_contact, (67.4,1.6)))
sram_128x32_1r1w_nmos_m4.add(gdstk.Reference(c_sram_128x32_1r1w_contact, (69,1.6)))
sram_128x32_1r1w_nmos_m4.add(gdstk.Reference(c_sram_128x32_1r1w_contact, (70.6,1.6)))
sram_128x32_1r1w_nmos_m4.add(gdstk.Reference(c_sram_128x32_1r1w_contact, (72.4,1.6)))
sram_128x32_1r1w_nmos_m4.add(gdstk.Label('G', (36.6,4.6), layer=46, texttype=0))
sram_128x32_1r1w_nmos_m4.add(gdstk.Label('S', (64.6,2), layer=49, texttype=0))
sram_128x32_1r1w_nmos_m4.add(gdstk.Label('S', (32.6,2), layer=49, texttype=0))
sram_128x32_1r1w_nmos_m4.add(gdstk.Label('S', (0.4,2), layer=49, texttype=0))
sram_128x32_1r1w_nmos_m4.add(gdstk.Label('S', (26.2,2), layer=49, texttype=0))
sram_128x32_1r1w_nmos_m4.add(gdstk.Label('S', (7,2), layer=49, texttype=0))
sram_128x32_1r1w_nmos_m4.add(gdstk.Label('S', (19.8,2), layer=49, texttype=0))
sram_128x32_1r1w_nmos_m4.add(gdstk.Label('S', (23,2), layer=49, texttype=0))
sram_128x32_1r1w_nmos_m4.add(gdstk.Label('S', (71,2), layer=49, texttype=0))
sram_128x32_1r1w_nmos_m4.add(gdstk.Label('S', (39,2), layer=49, texttype=0))
sram_128x32_1r1w_nmos_m4.add(gdstk.Label('S', (10.2,2), layer=49, texttype=0))
sram_128x32_1r1w_nmos_m4.add(gdstk.Label('S', (55,2), layer=49, texttype=0))
sram_128x32_1r1w_nmos_m4.add(gdstk.Label('S', (13.4,2), layer=49, texttype=0))
sram_128x32_1r1w_nmos_m4.add(gdstk.Label('S', (61.4,2), layer=49, texttype=0))
sram_128x32_1r1w_nmos_m4.add(gdstk.Label('S', (58.2,2), layer=49, texttype=0))
sram_128x32_1r1w_nmos_m4.add(gdstk.Label('S', (16.6,2), layer=49, texttype=0))
sram_128x32_1r1w_nmos_m4.add(gdstk.Label('S', (3.8,2), layer=49, texttype=0))
sram_128x32_1r1w_nmos_m4.add(gdstk.Label('S', (29.4,2), layer=49, texttype=0))
sram_128x32_1r1w_nmos_m4.add(gdstk.Label('S', (42.2,2), layer=49, texttype=0))
sram_128x32_1r1w_nmos_m4.add(gdstk.Label('S', (45.4,2), layer=49, texttype=0))
sram_128x32_1r1w_nmos_m4.add(gdstk.Label('S', (67.8,2), layer=49, texttype=0))
sram_128x32_1r1w_nmos_m4.add(gdstk.Label('S', (51.8,2), layer=49, texttype=0))
sram_128x32_1r1w_nmos_m4.add(gdstk.Label('S', (35.8,2), layer=49, texttype=0))
sram_128x32_1r1w_nmos_m4.add(gdstk.Label('S', (48.6,2), layer=49, texttype=0))
sram_128x32_1r1w_nmos_m4.add(gdstk.Label('D', (37.5,3.3), layer=49, texttype=0))

sram_128x32_1r1w_pinv_11 = lib.new_cell('sram_128x32_1r1w_pinv_11')
R(sram_128x32_1r1w_pinv_11, pwell, [(-1.2,-0.3,78.2,9.6)])
R(sram_128x32_1r1w_pinv_11, nwell, [(-1.2,9.6,78.2,21.5)])
R(sram_128x32_1r1w_pinv_11, poly, [(2.4,5.7,2.8,10.3), (2,8.6,2.4,9.4)])
A(sram_128x32_1r1w_pinv_11, metal1, 4.6, -0.3, 0.8, 2.8, 22, 1, 3.2, 0)
A(sram_128x32_1r1w_pinv_11, metal1, 4.6, 14.7, 0.8, 5.6, 22, 1, 3.2, 0)
R(sram_128x32_1r1w_pinv_11, metal1, [(0,-0.3,77,0.3), (1.2,-0.3,2,2.5), (75.2,0,76,1.3), (38.4,3.9,39,14.1), (1.6,8.6,2.4,9.4), (38.7,8.7,39.3,9.3), (1.2,14.7,2,20.3), (75.2,18.3,76,20), (0,19.7,77,20.3)])
R(sram_128x32_1r1w_pinv_11, boundary, [(0,0,77,20), (0,0,77,20)])
sram_128x32_1r1w_pinv_11.add(gdstk.Reference(sram_128x32_1r1w_pmos_m4, (1.2,11.1)))
sram_128x32_1r1w_pinv_11.add(gdstk.Reference(sram_128x32_1r1w_nmos_m4, (1.2,0.9)))
sram_128x32_1r1w_pinv_11.add(gdstk.Reference(c_sram_128x32_1r1w_contact_, (75.2,17.9)))
sram_128x32_1r1w_pinv_11.add(gdstk.Reference(c_sram_128x32_1r1w_contact__, (75.2,0.9)))
sram_128x32_1r1w_pinv_11.add(gdstk.Reference(c_sram_128x32_1r1w_contact___, (1.6,8.6)))
sram_128x32_1r1w_pinv_11.add(gdstk.Label('A', (2,9), layer=49, texttype=0))
sram_128x32_1r1w_pinv_11.add(gdstk.Label('Z', (39,9), layer=49, texttype=0))
sram_128x32_1r1w_pinv_11.add(gdstk.Label('gnd', (38.5,0), layer=49, texttype=0))
sram_128x32_1r1w_pinv_11.add(gdstk.Label('vdd', (38.5,20), layer=49, texttype=0))

sram_128x32_1r1w_pdriver = lib.new_cell('sram_128x32_1r1w_pdriver_0')
R(sram_128x32_1r1w_pdriver, pwell, [(-1.2,-0.3,168,9.6)])
R(sram_128x32_1r1w_pdriver, nwell, [(-1.2,9.6,168,21.5)])
A(sram_128x32_1r1w_pdriver, metal1, 3.9, 9.5, 4.7, 0.6, 4, 1, 6.6, 0)
R(sram_128x32_1r1w_pdriver, metal1, [(0,-0.3,166.8,0.3), (43,8.7,43.6,9.3), (43.3,8.7,49.8,9.3), (54.8,8.7,62.8,9.3), (75.8,8.7,91.8,9.3), (128.5,8.7,129.1,9.3), (36.6,8.9,37.2,9.5), (36.9,8.9,41.6,9.5), (43,9,43.6,9.2), (30,9.1,30.6,9.7), (30.3,9.1,35,9.7), (36.6,9.2,37.2,9.4), (1.6,9.4,2.4,10.2), (30,9.4,30.6,9.8), (0,19.7,166.8,20.3)])
R(sram_128x32_1r1w_pdriver, boundary, [(0,0,166.8,20), (0,0,166.8,20)])
sram_128x32_1r1w_pdriver.add(gdstk.Reference(sram_128x32_1r1w_pinv_6, (0,0)))
sram_128x32_1r1w_pdriver.add(gdstk.Reference(sram_128x32_1r1w_pinv_6, (6.6,0)))
sram_128x32_1r1w_pdriver.add(gdstk.Reference(sram_128x32_1r1w_pinv_6, (13.2,0)))
sram_128x32_1r1w_pdriver.add(gdstk.Reference(sram_128x32_1r1w_pinv_6, (19.8,0)))
sram_128x32_1r1w_pdriver.add(gdstk.Reference(sram_128x32_1r1w_pinv_6, (26.4,0)))
sram_128x32_1r1w_pdriver.add(gdstk.Reference(sram_128x32_1r1w_pinv_7, (33,0)))
sram_128x32_1r1w_pdriver.add(gdstk.Reference(sram_128x32_1r1w_pinv_8, (39.6,0)))
sram_128x32_1r1w_pdriver.add(gdstk.Reference(sram_128x32_1r1w_pinv_9, (47.8,0)))
sram_128x32_1r1w_pdriver.add(gdstk.Reference(sram_128x32_1r1w_pinv_10, (60.8,0)))
sram_128x32_1r1w_pdriver.add(gdstk.Reference(sram_128x32_1r1w_pinv_11, (89.8,0)))
sram_128x32_1r1w_pdriver.add(gdstk.Label('Z', (128.8,9), layer=49, texttype=0))
sram_128x32_1r1w_pdriver.add(gdstk.Label('A', (2,9.8), layer=49, texttype=0))
sram_128x32_1r1w_pdriver.add(gdstk.Label('gnd', (83.4,0), layer=49, texttype=0))
sram_128x32_1r1w_pdriver.add(gdstk.Label('vdd', (83.4,20), layer=49, texttype=0))

lib.write_gds('sram_128x32_1r1w_pdriver_0.gds')
